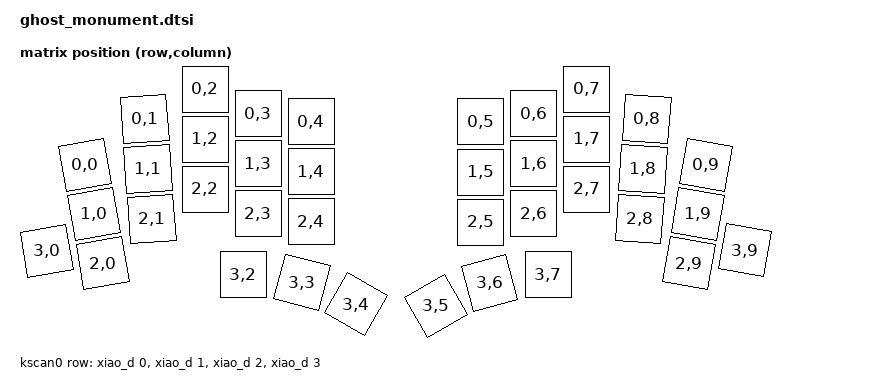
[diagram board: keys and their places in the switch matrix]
#include <dt-bindings/zmk/matrix_transform.h>
#include <physical_layouts.dtsi>

/ {
    chosen {
        zmk,physical-layout = &default_layout;
    };

    default_transform: keymap_transform0 {
        compatible = "zmk,matrix-transform";
        columns = <10>;
        rows = <4>;
        map = <
        //           LKey 1  |LKey 2  |LKey 3  |LKey 4  |LKey 5       RKey 1  |RKey 2  |RKey 3  |RKey 4  |RKey 5
        //           LKey 6  |LKey 7  |LKey 8  |LKey 9  |LKey 10      RKey 6  |RKey 7  |RKey 8  |RKey 9  |RKey 10
        //  LKey 19 |LKey 11 |LKey 12 |LKey 13 |LKey 14 |LKey 15      RKey 11 |RKey 12 |RKey 13 |RKey 14 |RKey 15  | RKey 19 
        //                             LKey 16 |LKey 17 |LKey 18      RKey 16 |RKey 17 |RKey 18
                    RC(0,0) RC(0,1) RC(0,2) RC(0,3) RC(0,4)     RC(0,5) RC(0,6) RC(0,7) RC(0,8) RC(0,9)
                    RC(1,0) RC(1,1) RC(1,2) RC(1,3) RC(1,4)     RC(1,5) RC(1,6) RC(1,7) RC(1,8) RC(1,9)
            RC(3,0) RC(2,0) RC(2,1) RC(2,2) RC(2,3) RC(2,4)     RC(2,5) RC(2,6) RC(2,7) RC(2,8) RC(2,9) RC(3,9)
                                    RC(3,2) RC(3,3) RC(3,4)     RC(3,5) RC(3,6) RC(3,7)
        >;
    };

    kscan0: kscan0 {
        compatible = "zmk,kscan-gpio-matrix";
        diode-direction = "col2row";
        wakeup-source;

        row-gpios
            = <&xiao_d 0 (GPIO_ACTIVE_HIGH | GPIO_PULL_DOWN)>
            , <&xiao_d 1 (GPIO_ACTIVE_HIGH | GPIO_PULL_DOWN)>
            , <&xiao_d 2 (GPIO_ACTIVE_HIGH | GPIO_PULL_DOWN)>
            , <&xiao_d 3 (GPIO_ACTIVE_HIGH | GPIO_PULL_DOWN)>
            ;

    };

    default_layout: physical_layout_0 {
        compatible = "zmk,physical-layout";
        display-name = "Ghost Monument";

        kscan = <&kscan0>;
        transform = <&default_transform>;

        keys  //                     w   h    x    y     rot    rx    ry
            = <&key_physical_attrs 100 100   77  151 (-1000)   130   201>
            , <&key_physical_attrs 100 100  196   60  (-400)   249   110>
            , <&key_physical_attrs 100 100  317    0       0     0     0>
            , <&key_physical_attrs 100 100  423   49       0     0     0>
            , <&key_physical_attrs 100 100  529   65       0     0     0>
            , <&key_physical_attrs 100 100  868   65       0     0     0>
            , <&key_physical_attrs 100 100  974   49       0     0     0>
            , <&key_physical_attrs 100 100 1080    0       0     0     0>
            , <&key_physical_attrs 100 100 1200   60     400  1253   110>
            , <&key_physical_attrs 100 100 1319  152    1000  1372   202>
            , <&key_physical_attrs 100 100   95  250 (-1000)   147   300>
            , <&key_physical_attrs 100 100  203  160  (-400)   256   210>
            , <&key_physical_attrs 100 100  317  100       0     0     0>
            , <&key_physical_attrs 100 100  423  149       0     0     0>
            , <&key_physical_attrs 100 100  529  165       0     0     0>
            , <&key_physical_attrs 100 100  868  166       0     0     0>
            , <&key_physical_attrs 100 100  974  149       0     0     0>
            , <&key_physical_attrs 100 100 1080  100       0     0     0>
            , <&key_physical_attrs 100 100 1193  160     400  1246   210>
            , <&key_physical_attrs 100 100 1302  250    1000  1355   300>
            , <&key_physical_attrs 100 100    0  323 (-1000)    52   373>
            , <&key_physical_attrs 100 100  112  348 (-1000)   165   398>
            , <&key_physical_attrs 100 100  210  260  (-400)   263   310>
            , <&key_physical_attrs 100 100  317  200       0     0     0>
            , <&key_physical_attrs 100 100  423  249       0     0     0>
            , <&key_physical_attrs 100 100  529  265       0     0     0>
            , <&key_physical_attrs 100 100  868  266       0     0     0>
            , <&key_physical_attrs 100 100  974  249       0     0     0>
            , <&key_physical_attrs 100 100 1080  200       0     0     0>
            , <&key_physical_attrs 100 100 1186  260     400  1239   310>
            , <&key_physical_attrs 100 100 1285  349    1000  1338   399>
            , <&key_physical_attrs 100 100 1397  323    1000  1450   373>
            , <&key_physical_attrs 100 100  393  371       0     0     0>
            , <&key_physical_attrs 100 100  511  387    1500   563   437>
            , <&key_physical_attrs 100 100  619  432    3000   672   482>
            , <&key_physical_attrs 100 100  778  432 (-3000)   831   482>
            , <&key_physical_attrs 100 100  886  387 (-1500)   939   437>
            , <&key_physical_attrs 100 100 1003  371       0     0     0>
            ;
    };
};
